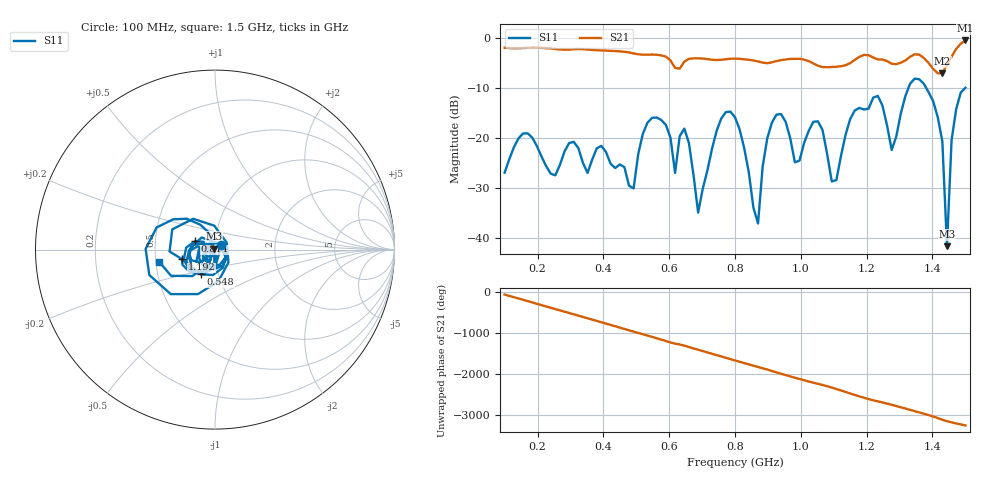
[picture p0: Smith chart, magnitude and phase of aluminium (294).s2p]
! NanoVNA-App
! Date: 2025-09-25 14:57:34
! Start: 100MHz Stop: 1,5GHz Points: 101
! S-Parameter data: F S11 S21 S12 S22
# Hz S RI R 50
!  Frequency  S11_Real  S11_Imag  S21_Real  S21_Imag  S12_Real  S12_Imag  S22_Real  S22_Imag
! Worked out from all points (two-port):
!   101 points, 100 MHz to 1.5 GHz, reference 50 ohm
!   highest |S21| = -0.47 dB at 1.5 GHz (marker M1); lowest = -7.1 dB at 1.43 GHz (marker M2)
!   |S21| within 3 dB of the highest: start of sweep to 575.8 MHz; 1.461 GHz to end of sweep (the widest 2 of 4)
!   lowest |S11| = -41.7 dB at 1.444 GHz (marker M3), VSWR 1.02, Z = 49.4 + j0.587 ohm
!   |S11| at or under -10 dB: start of sweep to 1.327 GHz; 1.381 GHz to 1.499 GHz (118.3 MHz wide, 8.22 % of centre)
!   S12 and S22 are empty: the file has one direction only
!   S11 on the Smith chart (normalised r, x): 100 MHz: 1.07, +0.06; 548 MHz: 0.82, -0.23; 814 MHz: 0.79, +0.07; 1.192 GHz: 0.68, -0.08; 1.5 GHz: 0.52, -0.08
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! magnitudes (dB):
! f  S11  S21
! 100 MHz  -27.0  -1.9
! 338 MHz  -25.0  -2.2
! 492 MHz  -30.1  -3.1
! 548 MHz  -16.0  -3.3
! 576 MHz  -16.4  -3.5
! 618 MHz  -27.0  -6.0
! 646 MHz  -18.1  -4.7
! 688 MHz  -35.0  -4.1
! 800 MHz  -15.9  -4.1
! 814 MHz  -18.3  -4.2
! 870 MHz  -37.2  -4.7
! 912 MHz  -16.9  -4.8
! 982 MHz  -24.9  -4.1
! 1.038 GHz  -16.8  -5.1
! 1.094 GHz  -28.7  -5.8
! 1.192 GHz  -14.3  -3.4
! 1.276 GHz  -22.4  -5.1
! 1.346 GHz  -8.1  -3.2
! 1.43 GHz  -20.7  -7.1
! 1.444 GHz  -41.7  -5.3
! 1.458 GHz  -20.5  -3.8
! 1.5 GHz  -10.0  -0.5
